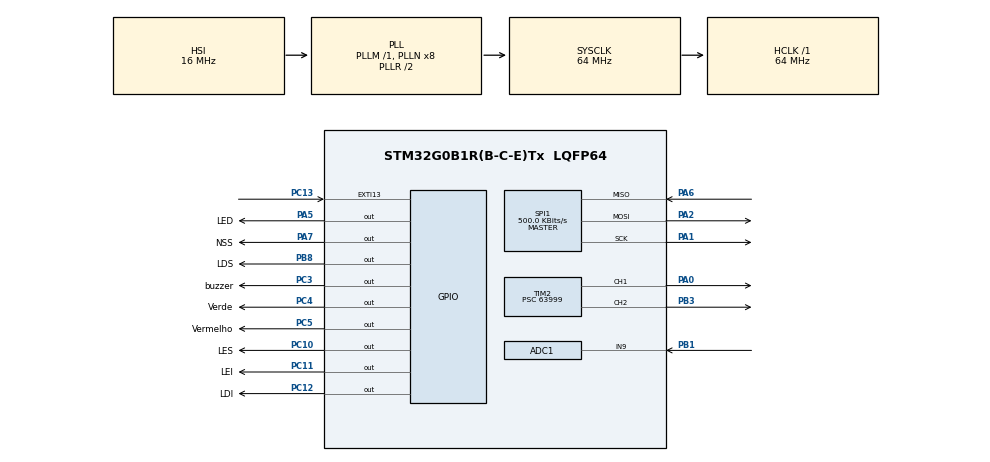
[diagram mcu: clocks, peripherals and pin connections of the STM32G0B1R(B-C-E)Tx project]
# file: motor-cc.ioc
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ADC1.Channel-4\#ChannelRegularConversion=ADC_CHANNEL_9
ADC1.ContinuousConvMode=DISABLE
ADC1.DMAContinuousRequests=DISABLE
ADC1.DiscontinuousConvMode=DISABLE
ADC1.EOCSelection=ADC_EOC_SINGLE_CONV
ADC1.NbrOfConversion=1
ADC1.NbrOfConversionFlag=1
ADC1.Rank-4\#ChannelRegularConversion=1
ADC1.SamplingTime-4\#ChannelRegularConversion=ADC_SAMPLINGTIME_COMMON_1
ADC1.SamplingTimeCommon1=ADC_SAMPLETIME_79CYCLES_5
ADC1.SamplingTimeCommon2=ADC_SAMPLETIME_79CYCLES_5
ADC1.SelectedChannel=ADC_CHANNEL_9
ADC1.master=1
Mcu.Family=STM32G0
Mcu.Name=STM32G0B1R(B-C-E)Tx
Mcu.Package=LQFP64
NVIC.EXTI4_15_IRQn=true\:0\:0\:false\:false\:true\:true\:true
NVIC.TIM2_IRQn=true\:0\:0\:false\:false\:true\:true\:true
PA0.Signal=S_TIM2_CH1_ETR
PA1.Mode=Full_Duplex_Master
PA1.Signal=SPI1_SCK
PA13.Mode=Serial_Wire
PA13.Signal=SYS_SWDIO
PA14-BOOT0.Mode=Serial_Wire
PA14-BOOT0.Signal=SYS_SWCLK
PA2.Mode=Full_Duplex_Master
PA2.Signal=SPI1_MOSI
PA5.GPIO_Label=LED
PA5.PinState=GPIO_PIN_RESET
PA5.Signal=GPIO_Output
PA6.Mode=Full_Duplex_Master
PA6.Signal=SPI1_MISO
PA7.GPIO_Label=NSS
PA7.GPIO_Speed=GPIO_SPEED_FREQ_HIGH
PA7.PinState=GPIO_PIN_SET
PA7.Signal=GPIO_Output
PB1.Mode=IN9
PB1.Signal=ADC1_IN9
PB3.Signal=S_TIM2_CH2
PB8.GPIO_Label=LDS
PB8.GPIO_Speed=GPIO_SPEED_FREQ_HIGH
PB8.PinState=GPIO_PIN_RESET
PB8.Signal=GPIO_Output
PC10.GPIO_Label=LES
PC10.GPIO_Speed=GPIO_SPEED_FREQ_HIGH
PC10.Signal=GPIO_Output
PC11.GPIO_Label=LEI
PC11.GPIO_Speed=GPIO_SPEED_FREQ_HIGH
PC11.Signal=GPIO_Output
PC12.GPIO_Label=LDI
PC12.GPIO_Speed=GPIO_SPEED_FREQ_HIGH
PC12.Signal=GPIO_Output
PC13.GPIO_ModeDefaultEXTI=GPIO_MODE_IT_FALLING
PC13.Signal=GPXTI13
PC3.GPIO_Label=buzzer
PC3.Signal=GPIO_Output
PC4.GPIO_Label=Verde
PC4.PinState=GPIO_PIN_SET
PC4.Signal=GPIO_Output
PC5.GPIO_Label=Vermelho
PC5.PinState=GPIO_PIN_RESET
PC5.Signal=GPIO_Output
ProjectManager.HeapSize=0x200
ProjectManager.StackSize=0x400
ProjectManager.TargetToolchain=STM32CubeIDE
RCC.ADCFreq_Value=64000000
RCC.AHBFreq_Value=64000000
RCC.CortexFreq_Value=64000000
RCC.EXTERNAL_CLOCK_VALUE=48000
RCC.HCLKFreq_Value=64000000
RCC.HSE_VALUE=8000000
RCC.HSI48_VALUE=48000000
RCC.HSI_VALUE=16000000
RCC.LSE_VALUE=32768
RCC.SYSCLKFreq_VALUE=64000000
RCC.SYSCLKSource=RCC_SYSCLKSOURCE_PLLCLK
RCC.USBFreq_Value=48000000
RCC.VCOOutputFreq_Value=128000000
SH.S_TIM2_CH1_ETR.0=TIM2_CH1,PWM Generation1 CH1
SH.S_TIM2_CH2.0=TIM2_CH2,PWM Generation2 CH2
SPI1.BaudRatePrescaler=SPI_BAUDRATEPRESCALER_128
SPI1.CalculateBaudRate=500.0 KBits/s
SPI1.Direction=SPI_DIRECTION_2LINES
SPI1.Mode=SPI_MODE_MASTER
SPI1.VirtualType=VM_MASTER
TIM2.Channel-PWM\ Generation1\ CH1=TIM_CHANNEL_1
TIM2.Channel-PWM\ Generation2\ CH2=TIM_CHANNEL_2
TIM2.Period=999
TIM2.Prescaler=63999
VP_SYS_VS_DBSignals.Mode=DisableDeadBatterySignals
VP_TIM2_VS_ClockSourceINT.Mode=Internal
board=custom

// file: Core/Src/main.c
/* USER CODE BEGIN Header */
/**
  ******************************************************************************
  * @file           : main.c
  * @brief          : Main program body
  ******************************************************************************
  * @attention
  *
  * Copyright (c) 2022 STMicroelectronics.
  * All rights reserved.
  *
  * This software is licensed under terms that can be found in the LICENSE file
  * in the root directory of this software component.
  * If no LICENSE file comes with this software, it is provided AS-IS.
  *
  ******************************************************************************
  */
/* USER CODE END Header */
#include "main.h"

/* USER CODE BEGIN Includes */
#include <stdint.h>
#include <LoRa.h>
/* USER CODE END Includes */

ADC_HandleTypeDef hadc1;

SPI_HandleTypeDef hspi1;

TIM_HandleTypeDef htim2;

/* USER CODE BEGIN PV */
LoRa myLoRa;
uint8_t read_data[128];
uint8_t send_data[128];
int			RSSI;
uint16_t teste;
uint32_t received_data[10];
uint32_t packet_size = 0, lora_data;

uint8_t contador = 0, contador2 = 0, cont = 0, flag = 0, flagui = 0;
uint32_t e_analogica, ADmax;
float tensao, media=0, corrente;
uint32_t currente;
uint8_t tx = 0, rx = 0;
/* USER CODE END PV */

void SystemClock_Config(void);
static void MX_GPIO_Init(void);
static void MX_TIM2_Init(void);
static void MX_ADC1_Init(void);
static void MX_SPI1_Init(void);

/* USER CODE BEGIN 0 */
void HAL_TIM_PeriodElapsedCallback(TIM_HandleTypeDef *htim2){

	flagui = 1;
}

void PWM_Set_DC(TIM_HandleTypeDef *timer, uint32_t channel, uint8_t dc){
	uint32_t arr, ccrx;

	arr = __HAL_TIM_GET_AUTORELOAD(timer);
	if (dc <= 100){
		ccrx = arr*dc/100;

		__HAL_TIM_SET_COMPARE(timer, channel, ccrx);
	}
}

float calcTensao(uint16_t num){
	float temp = (3.3 * (num / 4095.0));
	return temp;
}

void converter_dados(uint32_t num){

	if(flag == 1){

		switch(num){

			case 1:
				HAL_GPIO_WritePin(LDS_GPIO_Port, LDS_Pin, 0);
				HAL_GPIO_WritePin(LEI_GPIO_Port, LEI_Pin, 0);

				HAL_Delay(10);

				HAL_GPIO_WritePin(LES_GPIO_Port, LES_Pin, 1);
				HAL_GPIO_WritePin(LDI_GPIO_Port, LDI_Pin, 1);

				HAL_Delay(2000);

				HAL_GPIO_WritePin(LES_GPIO_Port, LES_Pin, 0);
				HAL_GPIO_WritePin(LDI_GPIO_Port, LDI_Pin, 0);

				lora_data = 0;
				break;

			case 2:
				HAL_GPIO_WritePin(LDS_GPIO_Port, LDS_Pin, 1);
				HAL_GPIO_WritePin(LEI_GPIO_Port, LEI_Pin, 1);

				HAL_Delay(10);

				HAL_GPIO_WritePin(LES_GPIO_Port, LES_Pin, 0);
				HAL_GPIO_WritePin(LDI_GPIO_Port, LDI_Pin, 0);

				HAL_Delay(2000);

				HAL_GPIO_WritePin(LDS_GPIO_Port, LDS_Pin, 0);
				HAL_GPIO_WritePin(LEI_GPIO_Port, LEI_Pin, 0);

				lora_data = 0;
				break;

			case 3:
				HAL_GPIO_WritePin(LDS_GPIO_Port, LDS_Pin, 1);
				HAL_GPIO_WritePin(LEI_GPIO_Port, LEI_Pin, 1);

				HAL_Delay(10);

				HAL_GPIO_WritePin(LES_GPIO_Port, LES_Pin, 0);
				HAL_GPIO_WritePin(LDI_GPIO_Port, LDI_Pin, 0);

				HAL_Delay(5000);

				HAL_GPIO_WritePin(LDS_GPIO_Port, LDS_Pin, 0);
				HAL_GPIO_WritePin(LEI_GPIO_Port, LEI_Pin, 0);

				lora_data = 0;
				break;

			case 4:
				HAL_GPIO_WritePin(LDS_GPIO_Port, LDS_Pin, 0);
				HAL_GPIO_WritePin(LEI_GPIO_Port, LEI_Pin, 0);

				HAL_Delay(10);

				HAL_GPIO_WritePin(LES_GPIO_Port, LES_Pin, 1);
				HAL_GPIO_WritePin(LDI_GPIO_Port, LDI_Pin, 1);

				HAL_Delay(5000);

				HAL_GPIO_WritePin(LES_GPIO_Port, LES_Pin, 0);
				HAL_GPIO_WritePin(LDI_GPIO_Port, LDI_Pin, 0);

				lora_data = 0;
				break;

			case 5:
				HAL_GPIO_WritePin(LDS_GPIO_Port, LDS_Pin, 0);
				HAL_GPIO_WritePin(LEI_GPIO_Port, LEI_Pin, 0);

				HAL_Delay(10);

				HAL_GPIO_WritePin(LES_GPIO_Port, LES_Pin, 1);
				HAL_GPIO_WritePin(LDI_GPIO_Port, LDI_Pin, 1);

				break;

			case 6:
				HAL_GPIO_WritePin(LES_GPIO_Port, LES_Pin, 0);
				HAL_GPIO_WritePin(LDI_GPIO_Port, LDI_Pin, 0);

				HAL_Delay(10);

				HAL_GPIO_WritePin(LDS_GPIO_Port, LDS_Pin, 1);
				HAL_GPIO_WritePin(LEI_GPIO_Port, LEI_Pin, 1);
				break;

			case 7:
				HAL_GPIO_WritePin(LDS_GPIO_Port, LDS_Pin, 0);
				HAL_GPIO_WritePin(LEI_GPIO_Port, LEI_Pin, 0);

				HAL_Delay(10);

				HAL_GPIO_WritePin(LES_GPIO_Port, LES_Pin, 1);
				HAL_GPIO_WritePin(LDI_GPIO_Port, LDI_Pin, 1);

				HAL_Delay(300);

				HAL_GPIO_WritePin(LES_GPIO_Port, LES_Pin, 0);
				HAL_GPIO_WritePin(LDI_GPIO_Port, LDI_Pin, 0);

				HAL_GPIO_WritePin(LDS_GPIO_Port, LDS_Pin, 1);
				HAL_GPIO_WritePin(LEI_GPIO_Port, LEI_Pin, 1);

				HAL_Delay(10);

				HAL_GPIO_WritePin(LES_GPIO_Port, LES_Pin, 0);
				HAL_GPIO_WritePin(LDI_GPIO_Port, LDI_Pin, 0);

				HAL_Delay(300);

				HAL_GPIO_WritePin(LDS_GPIO_Port, LDS_Pin, 0);
				HAL_GPIO_WritePin(LEI_GPIO_Port, LEI_Pin, 0);

				lora_data = 0;

				break;

			case 8:
				HAL_GPIO_WritePin(LDS_GPIO_Port, LDS_Pin, 0);
				HAL_GPIO_WritePin(LEI_GPIO_Port, LEI_Pin, 0);

				HAL_Delay(10);

				HAL_GPIO_WritePin(LES_GPIO_Port, LES_Pin, 1);
				HAL_GPIO_WritePin(LDI_GPIO_Port, LDI_Pin, 1);

				HAL_Delay(600);

				HAL_GPIO_WritePin(LES_GPIO_Port, LES_Pin, 0);
				HAL_GPIO_WritePin(LDI_GPIO_Port, LDI_Pin, 0);

				HAL_GPIO_WritePin(LDS_GPIO_Port, LDS_Pin, 1);
				HAL_GPIO_WritePin(LEI_GPIO_Port, LEI_Pin, 1);

				HAL_Delay(10);

				HAL_GPIO_WritePin(LES_GPIO_Port, LES_Pin, 0);
				HAL_GPIO_WritePin(LDI_GPIO_Port, LDI_Pin, 0);

				HAL_Delay(600);

				HAL_GPIO_WritePin(LDS_GPIO_Port, LDS_Pin, 0);
				HAL_GPIO_WritePin(LEI_GPIO_Port, LEI_Pin, 0);

				lora_data = 0;

				break;

			case 9:
				HAL_GPIO_WritePin(LDS_GPIO_Port, LDS_Pin, 0);
				HAL_GPIO_WritePin(LEI_GPIO_Port, LEI_Pin, 0);

				HAL_Delay(10);

				HAL_GPIO_WritePin(LES_GPIO_Port, LES_Pin, 1);
				HAL_GPIO_WritePin(LDI_GPIO_Port, LDI_Pin, 1);

				HAL_Delay(100);

				HAL_GPIO_WritePin(LES_GPIO_Port, LES_Pin, 0);
				HAL_GPIO_WritePin(LDI_GPIO_Port, LDI_Pin, 0);

				break;

			case 10:
				if(flag == 1 && cont > 1){
					flag = 0;
					cont = 0;
					HAL_GPIO_WritePin(LES_GPIO_Port, LES_Pin, 0);
					HAL_GPIO_WritePin(LDI_GPIO_Port, LDI_Pin, 0);

					HAL_GPIO_WritePin(LDS_GPIO_Port, LDS_Pin, 0);
					HAL_GPIO_WritePin(LEI_GPIO_Port, LEI_Pin, 0);

					HAL_GPIO_WritePin(Vermelho_GPIO_Port, Vermelho_Pin, 0);
					HAL_GPIO_WritePin(Verde_GPIO_Port, Verde_Pin, 1);

					HAL_GPIO_WritePin(buzzer_GPIO_Port, buzzer_Pin, 1);
					HAL_Delay(100);
					HAL_GPIO_WritePin(buzzer_GPIO_Port, buzzer_Pin, 0);
				}
				break;

			 case 11:
				contador2++;
				HAL_Delay(10);

				HAL_GPIO_WritePin(LDS_GPIO_Port, LDS_Pin, 1);
				HAL_GPIO_WritePin(LEI_GPIO_Port, LEI_Pin, 1);

				HAL_Delay(10);

				HAL_GPIO_WritePin(LES_GPIO_Port, LES_Pin, 0);
				HAL_GPIO_WritePin(LDI_GPIO_Port, LDI_Pin, 0);

				if(contador2 > 1){
					HAL_GPIO_WritePin(LDS_GPIO_Port, LDS_Pin, 0);
					HAL_GPIO_WritePin(LEI_GPIO_Port, LEI_Pin, 0);

					contador2 = 0;
				}

				lora_data = 0;
				break;

			 case 12:
				HAL_GPIO_WritePin(LDS_GPIO_Port, LDS_Pin, 0);
				HAL_GPIO_WritePin(LEI_GPIO_Port, LEI_Pin, 0);

				HAL_Delay(10);

				HAL_GPIO_WritePin(LES_GPIO_Port, LES_Pin, 1);
				HAL_GPIO_WritePin(LDI_GPIO_Port, LDI_Pin, 1);

				HAL_Delay(300);

				HAL_GPIO_WritePin(LES_GPIO_Port, LES_Pin, 0);
				HAL_GPIO_WritePin(LDI_GPIO_Port, LDI_Pin, 0);

				lora_data = 0;
				break;

			 case 13:
				contador++;
				HAL_GPIO_WritePin(LDS_GPIO_Port, LDS_Pin, 0);
				HAL_GPIO_WritePin(LEI_GPIO_Port, LEI_Pin, 0);

				HAL_Delay(10);

				HAL_GPIO_WritePin(LES_GPIO_Port, LES_Pin, 1);
				HAL_GPIO_WritePin(LDI_GPIO_Port, LDI_Pin, 1);

				if(contador > 1){
					 HAL_GPIO_WritePin(LES_GPIO_Port, LES_Pin, 0);
					 HAL_GPIO_WritePin(LDI_GPIO_Port, LDI_Pin, 0);

					 contador = 0;
				}

				lora_data = 0;
				break;

			 case 14:
				HAL_GPIO_WritePin(LDS_GPIO_Port, LDS_Pin, 1);
				HAL_GPIO_WritePin(LEI_GPIO_Port, LEI_Pin, 1);

				HAL_Delay(10);

				HAL_GPIO_WritePin(LES_GPIO_Port, LES_Pin, 0);
				HAL_GPIO_WritePin(LDI_GPIO_Port, LDI_Pin, 0);

				HAL_Delay(300);

				HAL_GPIO_WritePin(LDS_GPIO_Port, LDS_Pin, 0);
				HAL_GPIO_WritePin(LEI_GPIO_Port, LEI_Pin, 0);

				lora_data = 0;
				break;

			 case 15:
					HAL_GPIO_WritePin(LDS_GPIO_Port, LDS_Pin, 0);
					HAL_GPIO_WritePin(LEI_GPIO_Port, LEI_Pin, 0);
					HAL_GPIO_WritePin(LES_GPIO_Port, LES_Pin, 0);
					HAL_GPIO_WritePin(LDI_GPIO_Port, LDI_Pin, 0);

				break;

			 case 16:
				PWM_Set_DC(&htim2, TIM_CHANNEL_1, 30);
				break;

			 case 17:
				PWM_Set_DC(&htim2, TIM_CHANNEL_1, 30);
				break;

		}
	}
}
/* USER CODE END 0 */

int main(void)
{

  /* MCU Configuration--------------------------------------------------------*/

  /* Reset of all peripherals, Initializes the Flash interface and the Systick. */
  HAL_Init();

  /* Configure the system clock */
  SystemClock_Config();

  /* Initialize all configured peripherals */
  MX_GPIO_Init();
  MX_TIM2_Init();
  MX_ADC1_Init();
  MX_SPI1_Init();
  /* USER CODE BEGIN 2 */

  myLoRa = newLoRa();

    	myLoRa.hSPIx                 = &hspi1;
    	myLoRa.CS_port               = NSS_GPIO_Port;
    	myLoRa.CS_pin                = NSS_Pin;

    	myLoRa.frequency             = 433;							  // default = 433 MHz
    	myLoRa.spredingFactor        = SF_7;							// default = SF_7
    	myLoRa.bandWidth			       = BW_125KHz;				  // default = BW_125KHz
    	myLoRa.crcRate				       = CR_4_5;						// default = CR_4_5
    	myLoRa.power					       = POWER_20db;				// default = 20db
    	myLoRa.overCurrentProtection = 120; 							// default = 100 mA
    	myLoRa.preamble				       = 10;		  					// default = 8;

    	teste=LoRa_init(&myLoRa);

    	LoRa_startReceiving(&myLoRa);

  HAL_TIM_Base_Start_IT(&htim2);

  HAL_TIM_PWM_Start(&htim2, TIM_CHANNEL_1);

  PWM_Set_DC(&htim2, TIM_CHANNEL_1, 0);

  ADC_ChannelConfTypeDef sConfig = {0};
  /* USER CODE END 2 */

  /* Infinite loop */
  /* USER CODE BEGIN WHILE */
  HAL_ADCEx_Calibration_Start(&hadc1);

  while (1)
  {

	  if(received_data[0] != 0){
		  lora_data = received_data[0];

		  if(lora_data == 10 ){
			  flag = 1;
			  HAL_GPIO_WritePin(Verde_GPIO_Port, Verde_Pin, 0);
			  HAL_GPIO_WritePin(Vermelho_GPIO_Port, Vermelho_Pin, 1);
			  HAL_GPIO_WritePin(buzzer_GPIO_Port, buzzer_Pin, 1);
			  HAL_Delay(100);
			  HAL_GPIO_WritePin(buzzer_GPIO_Port, buzzer_Pin, 0);
			  cont ++;

		  }
  	  }
	  HAL_Delay(150);
	  packet_size = LoRa_receive(&myLoRa, received_data, 1);

	  sConfig.Channel = ADC_CHANNEL_9;
	  HAL_ADC_ConfigChannel(&hadc1, &sConfig);

	  e_analogica = 0;
	  for(int i = 0; i < 250; i++){

		  HAL_ADC_Start(&hadc1);
		  HAL_ADC_PollForConversion(&hadc1, 100);
		  e_analogica += HAL_ADC_GetValue(&hadc1);

	  }

	  e_analogica /= 250;
	  ADmax = e_analogica;

	  tensao = calcTensao(e_analogica);

	  corrente = (0.027 * e_analogica) / 3500.0;
	  corrente *= 1000;

	  currente = corrente;

	  converter_dados(lora_data);

	  if(flagui==1){
		  LoRa_transmit(&myLoRa, &currente, 1, 100);
		  flagui=0;
	  }

    /* USER CODE END WHILE */

  }
}

void SystemClock_Config(void)
{
  RCC_OscInitTypeDef RCC_OscInitStruct = {0};
  RCC_ClkInitTypeDef RCC_ClkInitStruct = {0};

  /** Configure the main internal regulator output voltage
  */
  HAL_PWREx_ControlVoltageScaling(PWR_REGULATOR_VOLTAGE_SCALE1);
  /** Initializes the RCC Oscillators according to the specified parameters
  * in the RCC_OscInitTypeDef structure.
  */
  RCC_OscInitStruct.OscillatorType = RCC_OSCILLATORTYPE_HSI;
  RCC_OscInitStruct.HSIState = RCC_HSI_ON;
  RCC_OscInitStruct.HSIDiv = RCC_HSI_DIV1;
  RCC_OscInitStruct.HSICalibrationValue = RCC_HSICALIBRATION_DEFAULT;
  RCC_OscInitStruct.PLL.PLLState = RCC_PLL_ON;
  RCC_OscInitStruct.PLL.PLLSource = RCC_PLLSOURCE_HSI;
  RCC_OscInitStruct.PLL.PLLM = RCC_PLLM_DIV1;
  RCC_OscInitStruct.PLL.PLLN = 8;
  RCC_OscInitStruct.PLL.PLLP = RCC_PLLP_DIV2;
  RCC_OscInitStruct.PLL.PLLQ = RCC_PLLQ_DIV2;
  RCC_OscInitStruct.PLL.PLLR = RCC_PLLR_DIV2;
  if (HAL_RCC_OscConfig(&RCC_OscInitStruct) != HAL_OK)
  {
    Error_Handler();
  }
  /** Initializes the CPU, AHB and APB buses clocks
  */
  RCC_ClkInitStruct.ClockType = RCC_CLOCKTYPE_HCLK|RCC_CLOCKTYPE_SYSCLK
                              |RCC_CLOCKTYPE_PCLK1;
  RCC_ClkInitStruct.SYSCLKSource = RCC_SYSCLKSOURCE_PLLCLK;
  RCC_ClkInitStruct.AHBCLKDivider = RCC_SYSCLK_DIV1;
  RCC_ClkInitStruct.APB1CLKDivider = RCC_HCLK_DIV1;

  if (HAL_RCC_ClockConfig(&RCC_ClkInitStruct, FLASH_LATENCY_2) != HAL_OK)
  {
    Error_Handler();
  }
}

static void MX_ADC1_Init(void)
{

  ADC_ChannelConfTypeDef sConfig = {0};

  /** Configure the global features of the ADC (Clock, Resolution, Data Alignment and number of conversion)
  */
  hadc1.Instance = ADC1;
  hadc1.Init.ClockPrescaler = ADC_CLOCK_SYNC_PCLK_DIV2;
  hadc1.Init.Resolution = ADC_RESOLUTION_12B;
  hadc1.Init.DataAlign = ADC_DATAALIGN_RIGHT;
  hadc1.Init.ScanConvMode = ADC_SCAN_DISABLE;
  hadc1.Init.EOCSelection = ADC_EOC_SINGLE_CONV;
  hadc1.Init.LowPowerAutoWait = DISABLE;
  hadc1.Init.LowPowerAutoPowerOff = DISABLE;
  hadc1.Init.ContinuousConvMode = DISABLE;
  hadc1.Init.NbrOfConversion = 1;
  hadc1.Init.DiscontinuousConvMode = DISABLE;
  hadc1.Init.ExternalTrigConv = ADC_SOFTWARE_START;
  hadc1.Init.ExternalTrigConvEdge = ADC_EXTERNALTRIGCONVEDGE_NONE;
  hadc1.Init.DMAContinuousRequests = DISABLE;
  hadc1.Init.Overrun = ADC_OVR_DATA_PRESERVED;
  hadc1.Init.SamplingTimeCommon1 = ADC_SAMPLETIME_79CYCLES_5;
  hadc1.Init.SamplingTimeCommon2 = ADC_SAMPLETIME_79CYCLES_5;
  hadc1.Init.OversamplingMode = DISABLE;
  hadc1.Init.TriggerFrequencyMode = ADC_TRIGGER_FREQ_HIGH;
  if (HAL_ADC_Init(&hadc1) != HAL_OK)
  {
    Error_Handler();
  }
  /** Configure Regular Channel
  */
  sConfig.Channel = ADC_CHANNEL_9;
  sConfig.Rank = ADC_REGULAR_RANK_1;
  sConfig.SamplingTime = ADC_SAMPLINGTIME_COMMON_1;
  if (HAL_ADC_ConfigChannel(&hadc1, &sConfig) != HAL_OK)
  {
    Error_Handler();
  }

}

static void MX_SPI1_Init(void)
{

  /* SPI1 parameter configuration*/
  hspi1.Instance = SPI1;
  hspi1.Init.Mode = SPI_MODE_MASTER;
  hspi1.Init.Direction = SPI_DIRECTION_2LINES;
  hspi1.Init.DataSize = SPI_DATASIZE_8BIT;
  hspi1.Init.CLKPolarity = SPI_POLARITY_LOW;
  hspi1.Init.CLKPhase = SPI_PHASE_1EDGE;
  hspi1.Init.NSS = SPI_NSS_SOFT;
  hspi1.Init.BaudRatePrescaler = SPI_BAUDRATEPRESCALER_128;
  hspi1.Init.FirstBit = SPI_FIRSTBIT_MSB;
  hspi1.Init.TIMode = SPI_TIMODE_DISABLE;
  hspi1.Init.CRCCalculation = SPI_CRCCALCULATION_DISABLE;
  hspi1.Init.CRCPolynomial = 7;
  hspi1.Init.CRCLength = SPI_CRC_LENGTH_DATASIZE;
  hspi1.Init.NSSPMode = SPI_NSS_PULSE_ENABLE;
  if (HAL_SPI_Init(&hspi1) != HAL_OK)
  {
    Error_Handler();
  }

}

static void MX_TIM2_Init(void)
{

  TIM_ClockConfigTypeDef sClockSourceConfig = {0};
  TIM_MasterConfigTypeDef sMasterConfig = {0};
  TIM_OC_InitTypeDef sConfigOC = {0};

  htim2.Instance = TIM2;
  htim2.Init.Prescaler = 63999;
  htim2.Init.CounterMode = TIM_COUNTERMODE_UP;
  htim2.Init.Period = 999;
  htim2.Init.ClockDivision = TIM_CLOCKDIVISION_DIV1;
  htim2.Init.AutoReloadPreload = TIM_AUTORELOAD_PRELOAD_DISABLE;
  if (HAL_TIM_Base_Init(&htim2) != HAL_OK)
  {
    Error_Handler();
  }
  sClockSourceConfig.ClockSource = TIM_CLOCKSOURCE_INTERNAL;
  if (HAL_TIM_ConfigClockSource(&htim2, &sClockSourceConfig) != HAL_OK)
  {
    Error_Handler();
  }
  if (HAL_TIM_PWM_Init(&htim2) != HAL_OK)
  {
    Error_Handler();
  }
  sMasterConfig.MasterOutputTrigger = TIM_TRGO_RESET;
  sMasterConfig.MasterSlaveMode = TIM_MASTERSLAVEMODE_DISABLE;
  if (HAL_TIMEx_MasterConfigSynchronization(&htim2, &sMasterConfig) != HAL_OK)
  {
    Error_Handler();
  }
  sConfigOC.OCMode = TIM_OCMODE_PWM1;
  sConfigOC.Pulse = 0;
  sConfigOC.OCPolarity = TIM_OCPOLARITY_HIGH;
  sConfigOC.OCFastMode = TIM_OCFAST_DISABLE;
  if (HAL_TIM_PWM_ConfigChannel(&htim2, &sConfigOC, TIM_CHANNEL_1) != HAL_OK)
  {
    Error_Handler();
  }
  if (HAL_TIM_PWM_ConfigChannel(&htim2, &sConfigOC, TIM_CHANNEL_2) != HAL_OK)
  {
    Error_Handler();
  }
  HAL_TIM_MspPostInit(&htim2);

}

static void MX_GPIO_Init(void)
{
  GPIO_InitTypeDef GPIO_InitStruct = {0};

  /* GPIO Ports Clock Enable */
  __HAL_RCC_GPIOC_CLK_ENABLE();
  __HAL_RCC_GPIOA_CLK_ENABLE();
  __HAL_RCC_GPIOB_CLK_ENABLE();

  /*Configure GPIO pin Output Level */
  HAL_GPIO_WritePin(GPIOC, LEI_Pin|LDI_Pin|buzzer_Pin|Vermelho_Pin
                          |LES_Pin, GPIO_PIN_RESET);

  /*Configure GPIO pin Output Level */
  HAL_GPIO_WritePin(LED_GPIO_Port, LED_Pin, GPIO_PIN_RESET);

  /*Configure GPIO pin Output Level */
  HAL_GPIO_WritePin(NSS_GPIO_Port, NSS_Pin, GPIO_PIN_SET);

  /*Configure GPIO pin Output Level */
  HAL_GPIO_WritePin(Verde_GPIO_Port, Verde_Pin, GPIO_PIN_SET);

  /*Configure GPIO pin Output Level */
  HAL_GPIO_WritePin(LDS_GPIO_Port, LDS_Pin, GPIO_PIN_RESET);

  /*Configure GPIO pins : LEI_Pin LDI_Pin LES_Pin */
  GPIO_InitStruct.Pin = LEI_Pin|LDI_Pin|LES_Pin;
  GPIO_InitStruct.Mode = GPIO_MODE_OUTPUT_PP;
  GPIO_InitStruct.Pull = GPIO_NOPULL;
  GPIO_InitStruct.Speed = GPIO_SPEED_FREQ_HIGH;
  HAL_GPIO_Init(GPIOC, &GPIO_InitStruct);

  /*Configure GPIO pin : PC13 */
  GPIO_InitStruct.Pin = GPIO_PIN_13;
  GPIO_InitStruct.Mode = GPIO_MODE_IT_FALLING;
  GPIO_InitStruct.Pull = GPIO_NOPULL;
  HAL_GPIO_Init(GPIOC, &GPIO_InitStruct);

  /*Configure GPIO pins : buzzer_Pin Verde_Pin Vermelho_Pin */
  GPIO_InitStruct.Pin = buzzer_Pin|Verde_Pin|Vermelho_Pin;
  GPIO_InitStruct.Mode = GPIO_MODE_OUTPUT_PP;
  GPIO_InitStruct.Pull = GPIO_NOPULL;
  GPIO_InitStruct.Speed = GPIO_SPEED_FREQ_LOW;
  HAL_GPIO_Init(GPIOC, &GPIO_InitStruct);

  /*Configure GPIO pin : LED_Pin */
  GPIO_InitStruct.Pin = LED_Pin;
  GPIO_InitStruct.Mode = GPIO_MODE_OUTPUT_PP;
  GPIO_InitStruct.Pull = GPIO_NOPULL;
  GPIO_InitStruct.Speed = GPIO_SPEED_FREQ_LOW;
  HAL_GPIO_Init(LED_GPIO_Port, &GPIO_InitStruct);

  /*Configure GPIO pin : NSS_Pin */
  GPIO_InitStruct.Pin = NSS_Pin;
  GPIO_InitStruct.Mode = GPIO_MODE_OUTPUT_PP;
  GPIO_InitStruct.Pull = GPIO_NOPULL;
  GPIO_InitStruct.Speed = GPIO_SPEED_FREQ_HIGH;
  HAL_GPIO_Init(NSS_GPIO_Port, &GPIO_InitStruct);

  /*Configure GPIO pin : LDS_Pin */
  GPIO_InitStruct.Pin = LDS_Pin;
  GPIO_InitStruct.Mode = GPIO_MODE_OUTPUT_PP;
  GPIO_InitStruct.Pull = GPIO_NOPULL;
  GPIO_InitStruct.Speed = GPIO_SPEED_FREQ_HIGH;
  HAL_GPIO_Init(LDS_GPIO_Port, &GPIO_InitStruct);

  /* EXTI interrupt init*/
  HAL_NVIC_SetPriority(EXTI4_15_IRQn, 0, 0);
  HAL_NVIC_EnableIRQ(EXTI4_15_IRQn);

}

void Error_Handler(void)
{
  __disable_irq();
  while (1)
  {
  }
}
